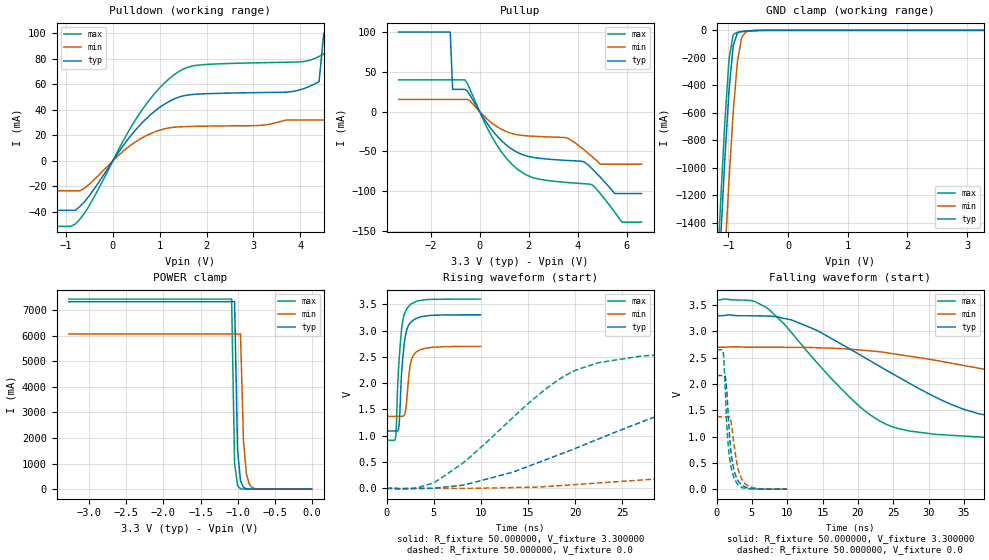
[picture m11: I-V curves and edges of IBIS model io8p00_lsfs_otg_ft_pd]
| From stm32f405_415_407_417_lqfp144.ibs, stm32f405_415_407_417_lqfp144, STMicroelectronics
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|   Model io8p00_lsfs_otg_ft_pd
[Model]  io8p00_lsfs_otg_ft_pd
Model_type I/O
Polarity   Non-Inverting
Enable   Active-Low
Vinl =   0.990000V
Vinh =   2.310000V
Vmeas =  1.650000V
Cref =   50.000000pF
Rref =   100.000000M
Vref =   0.0V
C_comp   8.196500pF   7.968500pF   8.492600pF
[Temperature Range]   25.000000   0.125000k   -40.000000
[Pullup Reference]   3.300000V   2.700000V   3.600000V
[Pulldown Reference]   0.0V   0.0V   0.0V
[POWER Clamp Reference]   3.300000V   2.700000V   3.600000V
[GND Clamp Reference]   0.0V   0.0V   0.0V
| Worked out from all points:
|   slope of the pulldown table from 0 to 0.495 V, typ, clamps not added: 20.1 ohm
|   slope of the pullup table from 0 to 0.495 V, typ, clamps not added: 21.8 ohm
|   GND clamp passes 1 mA (typ) near -0.52 V on its own axis
|   POWER clamp passes 1 mA (typ) near -0.81 V on its own axis
|   rising waveform, R_fixture 50.000000, V_fixture 3.300000: 20-80 % time 526ps typ, 500ps min, 529ps max; typ from 1.09 V to 3.3 V
|   rising waveform, R_fixture 50.000000, V_fixture 0.0: 20-80 % time 19.4ns typ, 47.3ns min, 10.3ns max; typ from 0 V to 2.16 V
|   falling waveform, R_fixture 50.000000, V_fixture 3.300000: 20-80 % time 18.4ns typ, 37.6ns min, 11.3ns max; typ from 3.3 V to 1.09 V
|   falling waveform, R_fixture 50.000000, V_fixture 0.0: 20-80 % time 845ps typ, 1.06ns min, 753ps max; typ from 2.16 V to 0 V
[Pulldown]
|Voltage   I(typ)   I(min)   I(max)
-3.3V     -38.65mA   -23.43mA   -51.3mA
-800mV    -38.65mA   -23.43mA   -49.55mA
600mV     28.88mA    17.56mA    38.65mA
1.4V      49.88mA    26.66mA    69.84mA
4.1V      56.96mA    32mA       77.99mA
4.4V      62mA       32mA       81.8mA
4.5V      100mA      32mA       83.9mA
4.7V      100mA      32mA       89mA
4.8V      100mA      32mA       100mA
5.1V      100mA      32mA       100mA
5.2V      1A         1A         100mA
6.6V      1A         1A         1A
[Pullup]
|Voltage   I(typ)   I(min)   I(max)
-3.3V     100mA      15.32mA    39.89mA
-1.2V     100mA      15.32mA    39.89mA
-1.1V     27.98mA    15.32mA    39.89mA
-600mV    27.98mA    15.32mA    39.89mA
500mV     -22.94mA   -14.36mA   -31.63mA
1.3V      -46.85mA   -27.39mA   -65.63mA
2.1V      -57.1mA    -30.77mA   -82.2mA
3.5V      -61.24mA   -32.71mA   -88.93mA
4.6V      -72.4mA    -57.1mA    -92.27mA
5.5V      -103mA     -66mA      -126.3mA
5.8V      -103mA     -66mA      -139mA
6.6V      -103mA     -66mA      -139mA
[GND_clamp]
|Voltage   I(typ)   I(min)   I(max)
-3.3V     -9.479A    -9.465A    -9.974A
-1.2V     -2.125A    -2.854A    -1.857A
-1.13V    -1.511A    -2.236A    -1.236A
-1.06V    -933.3mA   -1.641A    -660.9mA
-990mV    -433.3mA   -1.082A    -207mA
-920mV    -110.3mA   -591mA     -31.46mA
-850mV    -19.8mA    -226.8mA   -13.66mA
-780mV    -8.323mA   -53.94mA   -9.521mA
-710mV    -5.297mA   -11.95mA   -6.277mA
-640mV    -3.244mA   -4.292mA   -3.591mA
3.28V     81.28uA    57.87uA    93.98uA
[POWER_clamp]
|Voltage   I(typ)   I(min)   I(max)
-3.28V    7.328A     6.064A     7.43A
-1.08V    7.328A     6.064A     7.43A
-1.04V    7.328A     6.064A     1.015A
-1V       1.545A     6.064A     138.6mA
-960mV    325.6mA    6.064A     18.93mA
-920mV    68.64mA    1.89A      2.585mA
-880mV    14.47mA    589mA      353uA
-840mV    3.05mA     183.6mA    105.2uA
-800mV    642.9uA    57.21mA    105.2uA
-720mV    28.59uA    5.557mA    105.2uA
0V        0A         0A         0A
[Ramp]
| variable   typ   min   max
dV/dt_r  1.29569/19.42054n   0.82704/47.35804n   1.59013/10.26639n
dV/dt_f  1.32552/18.34344n   0.79752/37.70310n   1.61111/11.26081n
R_load = 50.000000
[Rising Waveform]
R_fixture= 50.000000
V_fixture= 3.300000
V_fixture_min= 2.700000
V_fixture_max= 3.600000
|time   V(typ)   V(min)   V(max)
0s        1.09V      1.369V     913.6mV
940.9ps   1.09V      1.369V     943.1mV
1.061ns   1.09V      1.369V     1.262V
1.281ns   1.132V     1.369V     2.293V
1.662ns   2.349V     1.37V      3.118V
1.942ns   2.836V     1.409V     3.337V
2.202ns   3.043V     1.802V     3.429V
2.503ns   3.142V     2.339V     3.487V
3.163ns   3.231V     2.595V     3.554V
9.97ns    3.299V     2.699V     3.599V
[Rising Waveform]
R_fixture= 50.000000
V_fixture= 0.0
V_fixture_min= 0.0
V_fixture_max= 0.0
|time   V(typ)   V(min)   V(max)
0s        8.71uV     4.057uV    76.57uV
5.506ns   12.07mV    -344.2uV   159.8mV
13.51ns   315.2mV    15.23mV    1.365V
20.02ns   759.2mV    71.83mV    2.243V
27.53ns   1.295V     164.1mV    2.522V
36.04ns   1.788V     306mV      2.603V
43.54ns   1.979V     443.5mV    2.626V
76.58ns   2.138V     1.046V     2.65V
104.1ns   2.157V     1.264V     2.65V
249.2ns   2.16V      1.378V     2.65V
[Falling Waveform]
R_fixture= 50.000000
V_fixture= 3.300000
V_fixture_min= 2.700000
V_fixture_max= 3.600000
|time   V(typ)   V(min)   V(max)
0s        3.299V     2.699V     3.599V
5.506ns   3.296V     2.697V     3.562V
11.01ns   3.197V     2.696V     2.91V
21.52ns   2.457V     2.631V     1.434V
31.03ns   1.744V     2.449V     1.042V
37.04ns   1.436V     2.301V     993.5mV
46.05ns   1.25V      2.087V     959.8mV
65.57ns   1.145V     1.677V     927.7mV
86.09ns   1.114V     1.51V      917mV
249.2ns   1.09V      1.369V     913.6mV
[Falling Waveform]
R_fixture= 50.000000
V_fixture= 0.0
V_fixture_min= 0.0
V_fixture_max= 0.0
|time   V(typ)   V(min)   V(max)
0s        2.16V      1.378V     2.65V
981ps     2.161V     1.378V     2.566V
1.321ns   2.074V     1.378V     1.615V
1.461ns   1.844V     1.379V     1.209V
1.682ns   1.365V     1.38V      794.3mV
2.002ns   765.2mV    1.315V     459.4mV
2.503ns   351.8mV    825.7mV    205.4mV
3.183ns   134.9mV    313mV      73.61mV
4.084ns   41.13mV    97.78mV    17.55mV
9.97ns    8.71uV     4.057uV    76.57uV
